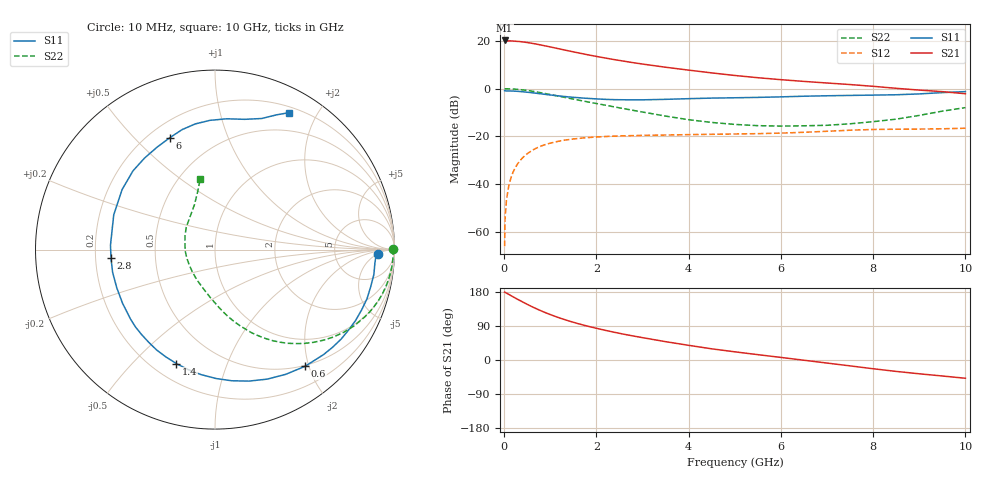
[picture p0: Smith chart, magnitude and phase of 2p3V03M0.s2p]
! (c) 2009  Infineon Technologies AG, Munich
! Infineon Technologies  Discrete & RF Semiconductors
! BFP420
! VCE =  3.0 V,  IC =  3.0 mA
! Common Emitter S-Parameters:  Nov 2009
# GHz  S  MA  R  50
!  f  S11  S21  S12  S22
! GHz  MAG  ANG  MAG  ANG  MAG  ANG  MAG  ANG
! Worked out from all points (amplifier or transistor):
!   46 points, 10 MHz to 10 GHz, reference 50 ohm
!   highest |S21| = 20.2 dB at 10 MHz (marker M1)
!   |S21| within 3 dB of that: start of sweep to 1.069 GHz
!   unconditionally stable (mu >= 1): 3.533 GHz to end of sweep
!   at 300 MHz: K = 0.07, MSG = 25.6 dB, |S12| = -31.3 dB
!   at 1.7 GHz: K = 0.43, MSG = 17.7 dB, |S12| = -20.7 dB
!   at 10 GHz: K = 1.17, MAG = 4.7 dB, |S12| = -16.6 dB
!   lowest NFmin = 0.57 dB at 900 MHz
!   S11 on the Smith chart (normalised r, x): 10 MHz: 19, -5; 600 MHz: 0.49, -1.94; 1.4 GHz: 0.29, -0.68; 2.8 GHz: 0.27, -0.04; 6 GHz: 0.28, +0.64; 10 GHz: 0.27, +1.64
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0.01  0.9071 -1.6  10.22 179.2  0.0005 67.1  0.992 0.1
0.02  0.8985 -1.7  9.963 178.8  0.0019 87.4  0.9925 -0.9
0.05  0.8942 -4.5  9.991 176.5  0.0046 86.7  0.9929 -2.4
0.15  0.8918 -13.4  9.998 169.7  0.0138 82.5  0.9863 -7.6
0.3  0.8771 -26.8  9.768 159.6  0.0272 75.3  0.9638 -15.0
0.4  0.8616 -35.4  9.528 153.2  0.0355 70.6  0.9414 -19.7
0.6  0.8215 -52.3  8.92 140.9  0.0504 61.8  0.885 -28.6
0.7  0.799 -60.4  8.577 135.2  0.0568 57.9  0.8525 -32.7
0.9  0.7568 -75.5  7.835 124.7  0.0676 50.7  0.786 -40.0
1.2  0.7009 -96.3  6.796 111.0  0.0797 41.7  0.6887 -49.5
1.4  0.6705 -108.7  6.176 103.1  0.0856 36.8  0.6306 -54.9
1.7  0.6348 -125.6  5.391 92.8  0.0923 30.7  0.5532 -61.9
1.9  0.618 -135.9  4.935 86.6  0.0955 27.2  0.5077 -66.1
2.2  0.5955 -149.9  4.365 78.1  0.0993 22.8  0.4488 -71.6
2.8  0.5814 -175.2  3.497 63.4  0.1038 15.7  0.3502 -82.5
3.5  0.5964 161.1  2.808 48.4  0.1066 10.0  0.2659 -96.1
4.5  0.6334 136.2  2.137 29.5  0.1104 4.4  0.1956 -121.4
5.5  0.6554 119.6  1.694 14.1  0.114 0.7  0.1675 -148.4
6  0.6723 112.0  1.541 6.8  0.1169 -0.6  0.164 -163.5
7  0.7088 98.9  1.312 -8.1  0.1278 -4.1  0.1706 169.0
8.5  0.7443 77.2  1.016 -30.1  0.141 -14.7  0.2294 127.4
10  0.8661 61.7  0.782 -48.2  0.1479 -21.6  0.4006 101.9
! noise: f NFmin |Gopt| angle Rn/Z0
0.9  0.57  0.35  33  0.18
1.8  1.02  0.2  79  0.14
2.4  1.1  0.23  104  0.14
3  1.25  0.24  144  0.11
4  1.46  0.33  -159  0.1
5  1.9  0.39  -128  0.22
6  2.46  0.48  -107  0.35
